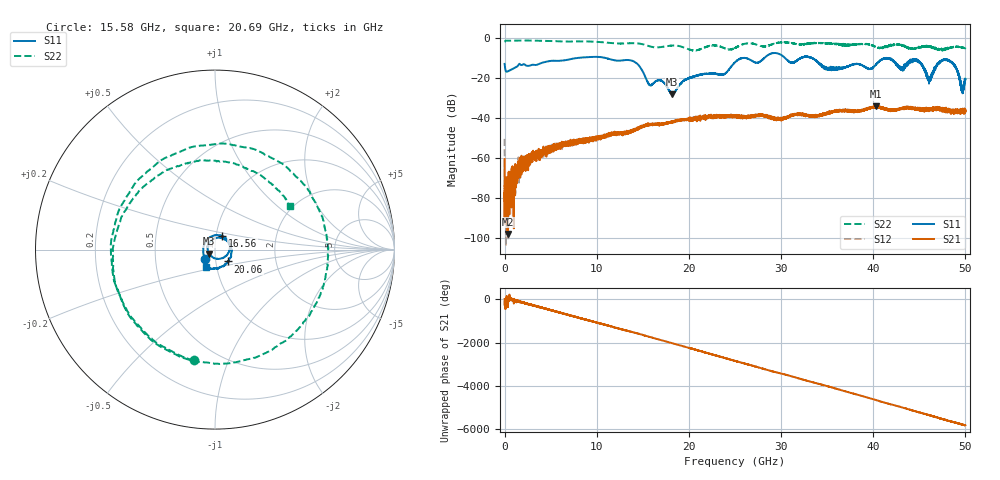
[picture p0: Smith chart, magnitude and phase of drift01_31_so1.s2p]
!Created with skrf (http://scikit-rf.org).
# Hz S RI R 50.0
!freq ReS11 ImS11 ReS21 ImS21 ReS12 ImS12 ReS22 ImS22
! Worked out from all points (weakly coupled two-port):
!   10001 points, 300 kHz to 50 GHz, reference 50 ohm
!   highest |S21| = -34.07 dB at 40.29 GHz (marker M1); lowest = -97.8 dB at 330.3 MHz (marker M2)
!   lowest |S11| = -28.2 dB at 18.14 GHz (marker M3), VSWR 1.08, Z = 46.9 - j2.13 ohm
!   |S11| at or under -10 dB: start of sweep to 8.053 GHz; 10.88 GHz to 26 GHz (15.12 GHz wide, 82 % of centre); 33.27 GHz to end of sweep (the widest 3 of 9)
!   |S22| runs from -6.4 to -1.4 dB; largest |S21 - S12| = 0.0042
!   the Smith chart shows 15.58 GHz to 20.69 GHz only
!   S11 on the Smith chart (normalised r, x): 15.58 GHz: 0.89, -0.09; 16.56 GHz: 1.07, +0.16; 20.06 GHz: 1.15, -0.15; 20.69 GHz: 0.88, -0.18
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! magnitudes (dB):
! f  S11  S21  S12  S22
! 300 kHz  -13.0  -60.5  -50.4  -2.1
! 330.3 MHz  -16.8  -97.8  -80.3  -1.4
! 2.955 GHz  -13.5  -57.1  -60.8  -1.4
! 8.335 GHz  -9.9  -51.3  -51.4  -1.8
! 13.88 GHz  -11.5  -46.2  -46.3  -2.7
! 15.58 GHz  -22.5  -43.7  -43.4  -4.0
! 16.56 GHz  -21.3  -43.3  -43.3  -4.8
! 16.67 GHz  -21.1  -43.4  -43.3  -4.8
! 18.14 GHz  -28.2  -42.1  -42.3  -3.9
! 20.06 GHz  -20.2  -40.7  -40.4  -5.9
! 20.69 GHz  -19.0  -40.1  -40.0  -6.3
! 25 GHz  -12.2  -39.4  -38.9  -5.1
! 33.34 GHz  -10.1  -39.1  -38.7  -2.7
! 35.23 GHz  -14.9  -37.3  -37.5  -3.0
! 40.29 GHz  -13.4  -34.1  -34.6  -4.7
! 41.67 GHz  -10.4  -35.9  -35.9  -4.3
! 43.07 GHz  -15.3  -35.1  -35.5  -3.7
! 44.78 GHz  -11.9  -35.8  -35.2  -5.0
! 46.08 GHz  -21.4  -35.4  -35.3  -4.3
! 48.07 GHz  -11.0  -36.6  -36.5  -4.9
! 49.64 GHz  -24.7  -37.4  -35.5  -4.7
! 50 GHz  -20.8  -36.6  -36.6  -5.4
